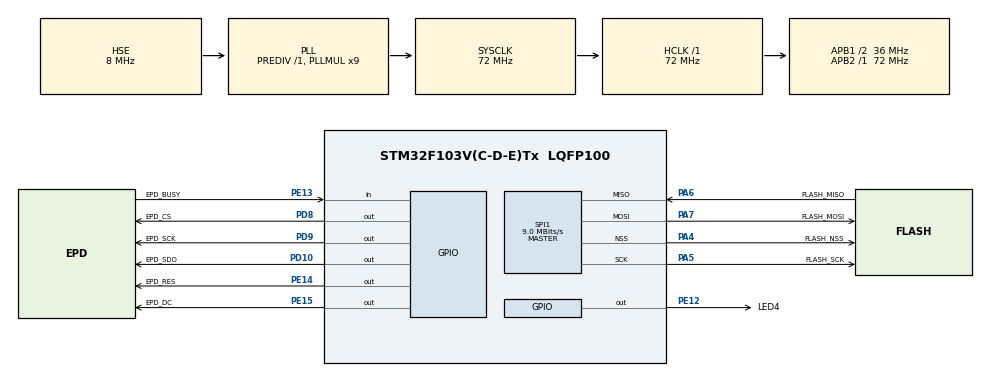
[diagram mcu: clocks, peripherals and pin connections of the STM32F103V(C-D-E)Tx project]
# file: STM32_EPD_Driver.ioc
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Mcu.Family=STM32F1
Mcu.Name=STM32F103V(C-D-E)Tx
Mcu.Package=LQFP100
NVIC.PriorityGroup=NVIC_PRIORITYGROUP_4
OSC_IN.Mode=HSE-External-Oscillator
OSC_IN.Signal=RCC_OSC_IN
OSC_OUT.Mode=HSE-External-Oscillator
OSC_OUT.Signal=RCC_OSC_OUT
PA13.Mode=Serial_Wire
PA13.Signal=SYS_JTMS-SWDIO
PA14.Mode=Serial_Wire
PA14.Signal=SYS_JTCK-SWCLK
PA4.GPIO_Label=FLASH_NSS
PA4.Mode=NSS_Signal_Hard_Output
PA4.Signal=SPI1_NSS
PA5.GPIO_Label=FLASH_SCK
PA5.Mode=Full_Duplex_Master
PA5.Signal=SPI1_SCK
PA6.GPIO_Label=FLASH_MISO
PA6.Mode=Full_Duplex_Master
PA6.Signal=SPI1_MISO
PA7.GPIO_Label=FLASH_MOSI
PA7.Mode=Full_Duplex_Master
PA7.Signal=SPI1_MOSI
PD10.GPIO_Label=EPD_SDO
PD10.GPIO_Speed=GPIO_SPEED_FREQ_HIGH
PD10.Signal=GPIO_Output
PD8.GPIO_Label=EPD_CS
PD8.GPIO_Speed=GPIO_SPEED_FREQ_HIGH
PD8.PinState=GPIO_PIN_SET
PD8.Signal=GPIO_Output
PD9.GPIO_Label=EPD_SCK
PD9.GPIO_Speed=GPIO_SPEED_FREQ_HIGH
PD9.Signal=GPIO_Output
PE12.GPIO_Label=LED4
PE12.GPIO_Speed=GPIO_SPEED_FREQ_HIGH
PE12.PinState=GPIO_PIN_SET
PE12.Signal=GPIO_Output
PE13.GPIO_Label=EPD_BUSY
PE13.GPIO_PuPd=GPIO_PULLUP
PE13.Signal=GPIO_Input
PE14.GPIO_Label=EPD_RES
PE14.GPIO_Speed=GPIO_SPEED_FREQ_HIGH
PE14.Signal=GPIO_Output
PE15.GPIO_Label=EPD_DC
PE15.GPIO_Speed=GPIO_SPEED_FREQ_HIGH
PE15.Signal=GPIO_Output
ProjectManager.HeapSize=0x200
ProjectManager.StackSize=0x400
ProjectManager.TargetToolchain=STM32CubeIDE
RCC.AHBFreq_Value=72000000
RCC.APB1CLKDivider=RCC_HCLK_DIV2
RCC.APB1Freq_Value=36000000
RCC.APB1TimFreq_Value=72000000
RCC.APB2Freq_Value=72000000
RCC.APB2TimFreq_Value=72000000
RCC.HCLKFreq_Value=72000000
RCC.PLLMUL=RCC_PLL_MUL9
RCC.PLLSourceVirtual=RCC_PLLSOURCE_HSE
RCC.SYSCLKFreq_VALUE=72000000
RCC.SYSCLKSource=RCC_SYSCLKSOURCE_PLLCLK
RCC.USBFreq_Value=72000000
SPI1.BaudRatePrescaler=SPI_BAUDRATEPRESCALER_8
SPI1.CalculateBaudRate=9.0 MBits/s
SPI1.Direction=SPI_DIRECTION_2LINES
SPI1.Mode=SPI_MODE_MASTER
SPI1.VirtualNSS=VM_NSSHARD
SPI1.VirtualType=VM_MASTER
board=custom

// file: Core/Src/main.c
/* USER CODE BEGIN Header */
/**
  ******************************************************************************
  * @file           : main.c
  * @brief          : Main program body
  ******************************************************************************
  * @attention
  *
  * Copyright (c) 2022 STMicroelectronics.
  * All rights reserved.
  *
  * This software is licensed under terms that can be found in the LICENSE file
  * in the root directory of this software component.
  * If no LICENSE file comes with this software, it is provided AS-IS.
  *
  ******************************************************************************
  */
/* USER CODE END Header */
#include "main.h"
#include "spi.h"
#include "gpio.h"

/* USER CODE BEGIN Includes */
#include "epd_common.h"
#include <string.h>
/* USER CODE END Includes */

void SystemClock_Config(void);

int main(void)
{

  /* MCU Configuration--------------------------------------------------------*/

  /* Reset of all peripherals, Initializes the Flash interface and the Systick. */
  HAL_Init();

  /* Configure the system clock */
  SystemClock_Config();

  /* Initialize all configured peripherals */
  MX_GPIO_Init();
  MX_SPI1_Init();
  /* USER CODE BEGIN 2 */
  epaper_display_t epd;

  memset(&epd, 0, sizeof(epd));

  epd.epd_pn = EPD_PN_BE2266ES0550;

  epaper_display_init(&epd);

  if(EPD_INIT_DONE == epd.epd_inited)
  {
		epd.epd_init();
		epd.epd_clear();
		HAL_Delay(500);

#ifdef EPD_BUILTIN_TEST_IMG
		epd.epd_display(epd.gImage_bw, epd.gImage_r);
#endif
  }
  /* USER CODE END 2 */

  /* Infinite loop */
  /* USER CODE BEGIN WHILE */
  while (1)
  {
	  HAL_GPIO_TogglePin(LED4_GPIO_Port, LED4_Pin);
	  HAL_Delay(1000);
    /* USER CODE END WHILE */

  }
}

void SystemClock_Config(void)
{
  RCC_OscInitTypeDef RCC_OscInitStruct = {0};
  RCC_ClkInitTypeDef RCC_ClkInitStruct = {0};

  /** Initializes the RCC Oscillators according to the specified parameters
  * in the RCC_OscInitTypeDef structure.
  */
  RCC_OscInitStruct.OscillatorType = RCC_OSCILLATORTYPE_HSE;
  RCC_OscInitStruct.HSEState = RCC_HSE_ON;
  RCC_OscInitStruct.HSEPredivValue = RCC_HSE_PREDIV_DIV1;
  RCC_OscInitStruct.HSIState = RCC_HSI_ON;
  RCC_OscInitStruct.PLL.PLLState = RCC_PLL_ON;
  RCC_OscInitStruct.PLL.PLLSource = RCC_PLLSOURCE_HSE;
  RCC_OscInitStruct.PLL.PLLMUL = RCC_PLL_MUL9;
  if (HAL_RCC_OscConfig(&RCC_OscInitStruct) != HAL_OK)
  {
    Error_Handler();
  }

  /** Initializes the CPU, AHB and APB buses clocks
  */
  RCC_ClkInitStruct.ClockType = RCC_CLOCKTYPE_HCLK|RCC_CLOCKTYPE_SYSCLK
                              |RCC_CLOCKTYPE_PCLK1|RCC_CLOCKTYPE_PCLK2;
  RCC_ClkInitStruct.SYSCLKSource = RCC_SYSCLKSOURCE_PLLCLK;
  RCC_ClkInitStruct.AHBCLKDivider = RCC_SYSCLK_DIV1;
  RCC_ClkInitStruct.APB1CLKDivider = RCC_HCLK_DIV2;
  RCC_ClkInitStruct.APB2CLKDivider = RCC_HCLK_DIV1;

  if (HAL_RCC_ClockConfig(&RCC_ClkInitStruct, FLASH_LATENCY_2) != HAL_OK)
  {
    Error_Handler();
  }
}

void Error_Handler(void)
{
  __disable_irq();
  while (1)
  {
  }
}
